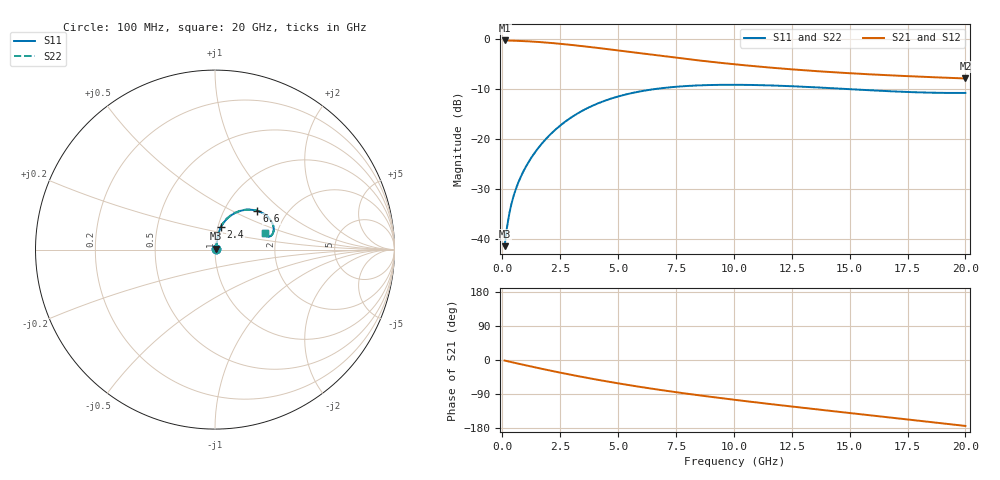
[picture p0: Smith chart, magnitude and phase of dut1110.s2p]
! Touchstone file exported from HFSS 2024.1.0
!  File:  C:/UserFiles/LocalFiles/RDL_TSV_Batchsim/temp_RDL_TSV_1110_1780102863.aedt
!  Generated:  09:13:45 AM May 30, 2026
!  Design:  RDL_TSV
!  Project:  temp_RDL_TSV_1110_1780102863
!  Setup:  Setup1
!  Solution:  Sweep
! Variables:
!  dtsv = 5.12um
!  hbump = 3um
!  htsv = 60.77um
!  ldown = 138.12um
!  lrdl = 546.68um
!  p = 40
!  p1 = 53.57um
!  rhole = 10um
!  subl = 2601.08um
!  t = 450um
!  tdown = 4.65um
!  trdl = 2.61um
!  viad = 10um
!  wdown = 15.65um
!  wrdl = 25.9um
!  xbump = 18um
# GHz S MA R 50.000000
! Terminal data exported
! Port[1] = TM1_1_T1
! Port[2] = TM1_4_T1
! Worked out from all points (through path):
!   200 points, 100 MHz to 20 GHz, reference 50 ohm
!   highest |S21| = -0.22 dB at 100 MHz (marker M1); lowest = -7.8 dB at 20 GHz (marker M2)
!   group delay of S21, straight-line fit = 22.9 ps
!   lowest |S11| = -41.4 dB at 100 MHz (marker M3), VSWR 1.02, Z = 50.6 + j0.57 ohm
!   |S11| at or under -10 dB: start of sweep to 6.492 GHz; 15.17 GHz to end of sweep
!   |S22| runs from -41.5 to -9.1 dB; largest |S21 - S12| = 9.5e-15
!   S11 on the Smith chart (normalised r, x): 100 MHz: 1.01, +0.01; 2.4 GHz: 1.03, +0.27; 6.6 GHz: 1.42, +0.68; 20 GHz: 1.72, +0.35
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0.1  0.008548 41.2  0.9753 -1.5  0.9753 -1.5  0.008434 41.1
! Gamma 0 0 0 0
! Port Impedance 50 0 50 0
0.2  0.01307 58.1  0.9742 -2.9  0.9742 -2.9  0.01288 58.0
0.3  0.01798 65.2  0.9728 -4.3  0.9728 -4.3  0.01771 65.2
0.4  0.02288 69.0  0.9713 -5.7  0.9713 -5.7  0.02253 69.1
0.6  0.03255 73.2  0.9679 -8.4  0.9679 -8.4  0.03205 73.4
0.8  0.0423 75.6  0.9639 -11.2  0.9639 -11.2  0.04166 75.9
1.1  0.05748 77.6  0.9565 -15.2  0.9565 -15.2  0.05669 78.0
1.5  0.079 78.3  0.9441 -20.6  0.9441 -20.6  0.0781 78.7
1.9  0.1018 77.4  0.9292 -25.8  0.9292 -25.8  0.1009 78.0
2.4  0.1314 75.1  0.9078 -32.1  0.9078 -32.1  0.1305 75.6
2.9  0.1612 71.8  0.8841 -38.2  0.8841 -38.2  0.1604 72.3
3.5  0.1957 67.1  0.8538 -45.3  0.8538 -45.3  0.1951 67.6
4.2  0.2325 61.3  0.8171 -53.1  0.8171 -53.1  0.2321 61.7
4.9  0.2643 55.5  0.7803 -60.5  0.7803 -60.5  0.264 55.8
6.6  0.3188 42.7  0.6954 -77.0  0.6954 -77.0  0.3187 42.9
6.8  0.3232 41.3  0.6861 -78.8  0.6861 -78.8  0.3231 41.6
8.4  0.3459 31.8  0.619 -92.4  0.619 -92.4  0.3459 32.0
10.1  0.3515 24.1  0.5615 -105.6  0.5615 -105.6  0.3515 24.2
11.7  0.3455 18.8  0.5191 -117.2  0.5191 -117.2  0.3457 18.9
13.4  0.3325 15.2  0.4842 -129.0  0.4842 -129.0  0.3327 15.3
16.7  0.3031 13.8  0.4374 -151.4  0.4374 -151.4  0.3034 13.9
20  0.2915 18.6  0.4065 -174.0  0.4065 -174.0  0.2919 18.7
